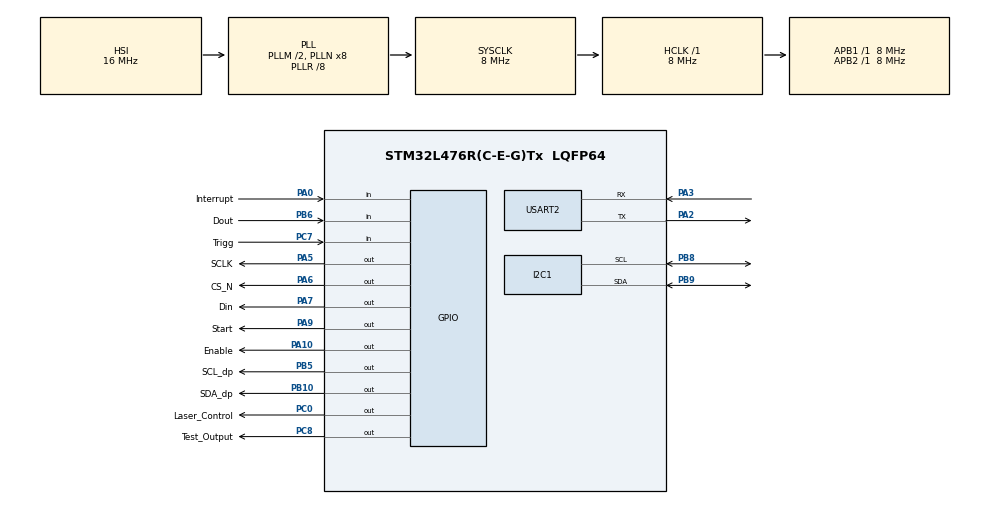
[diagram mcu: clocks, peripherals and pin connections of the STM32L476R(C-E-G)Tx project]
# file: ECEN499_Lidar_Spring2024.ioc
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I2C1.Speed=2
I2C1.Timing=0xA0006AFF
Mcu.Family=STM32L4
Mcu.Name=STM32L476R(C-E-G)Tx
Mcu.Package=LQFP64
NVIC.PriorityGroup=NVIC_PRIORITYGROUP_4
PA0.GPIO_Label=Interrupt
PA0.GPIO_PuPd=GPIO_NOPULL
PA0.Signal=GPIO_Input
PA10.GPIO_Label=Enable
PA10.Signal=GPIO_Output
PA2.Mode=Asynchronous
PA2.Signal=USART2_TX
PA3.Mode=Asynchronous
PA3.Signal=USART2_RX
PA5.GPIO_Label=SCLK
PA5.Signal=GPIO_Output
PA6.GPIO_Label=CS_N
PA6.Signal=GPIO_Output
PA7.GPIO_Label=Din
PA7.Signal=GPIO_Output
PA9.GPIO_Label=Start
PA9.Signal=GPIO_Output
PB10.GPIO_Label=SDA_dp
PB10.Signal=GPIO_Output
PB5.GPIO_Label=SCL_dp
PB5.Signal=GPIO_Output
PB6.GPIO_Label=Dout
PB6.GPIO_PuPd=GPIO_PULLDOWN
PB6.Signal=GPIO_Input
PB8.GPIO_Pu=GPIO_PULLUP
PB8.Mode=I2C
PB8.Signal=I2C1_SCL
PB9.GPIO_Pu=GPIO_PULLUP
PB9.Mode=I2C
PB9.Signal=I2C1_SDA
PC0.GPIO_Label=Laser_Control
PC0.Signal=GPIO_Output
PC7.GPIO_Label=Trigg
PC7.GPIO_PuPd=GPIO_NOPULL
PC7.Signal=GPIO_Input
PC8.GPIO_Label=Test_Output
PC8.Signal=GPIO_Output
ProjectManager.HeapSize=0x200
ProjectManager.StackSize=0x400
ProjectManager.TargetToolchain=STM32CubeIDE
RCC.ADCFreq_Value=32000000
RCC.AHBFreq_Value=8000000
RCC.APB1Freq_Value=8000000
RCC.APB1TimFreq_Value=8000000
RCC.APB2Freq_Value=8000000
RCC.APB2TimFreq_Value=8000000
RCC.CortexFreq_Value=8000000
RCC.HCLKFreq_Value=8000000
RCC.HSE_VALUE=8000000
RCC.HSI_VALUE=16000000
RCC.LSE_VALUE=32768
RCC.MSI_VALUE=4000000
RCC.PLLM=2
RCC.PLLR=RCC_PLLR_DIV8
RCC.PLLSourceVirtual=RCC_PLLSOURCE_HSI
RCC.PREFETCH_ENABLE=1
RCC.SYSCLKFreq_VALUE=8000000
RCC.SYSCLKSource=RCC_SYSCLKSOURCE_PLLCLK
RCC.USBFreq_Value=32000000
RCC.VCOOutputFreq_Value=64000000
USART2.VirtualMode-Asynchronous=VM_ASYNC
board=NUCLEO-L476RG

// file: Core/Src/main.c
/* USER CODE BEGIN Header */
/**
  ******************************************************************************
  * @file           : main.c
  * @brief          : Main program body
  ******************************************************************************
  * @attention
  *
  * Copyright (c) 2024 STMicroelectronics.
  * All rights reserved.
  *
  * This software is licensed under terms that can be found in the LICENSE file
  * in the root directory of this software component.
  * If no LICENSE file comes with this software, it is provided AS-IS.
  *
  ******************************************************************************
  */
/* USER CODE END Header */
#include "main.h"

/* USER CODE BEGIN Includes */
#include "spi.h"
#include "stdlib.h"
#include "stdio.h"
#include "string.h"
#include <math.h>
/* USER CODE END Includes */

/* USER CODE BEGIN PM */
#define UART_DELAY 100 // wait max of 100 ms between frames in message
#define MAX_MESSAGE_SIZE 100 // 100 characters maximum message size
#define MAX_NEW_POT_VALUE_SIZE 3 // 3 characters maximum potentiometer value size
/* USER CODE END PM */

I2C_HandleTypeDef hi2c1;

UART_HandleTypeDef huart2;

/* USER CODE BEGIN PV */
int  new_pot_value;
char message[MAX_MESSAGE_SIZE];
char distance[MAX_MESSAGE_SIZE];
/* USER CODE END PV */

void SystemClock_Config(void);
static void MX_GPIO_Init(void);
static void MX_I2C1_Init(void);
static void MX_USART2_UART_Init(void);

/* USER CODE BEGIN 0 */

void Set_Pot_Value(uint8_t pot_value)
{
	/* This function will take in a 8 bit value that will determine the value of the potentiometer.
	 * The DigiPot needs three things to update 1. Slave Address, 2. Register Address, and 3. Pot Value
	 * The Slave address (8bit) is comprised of the address (7bits) and a read/write bit (1bit lsb)
	 * The register address for the pot is 0b 0000 0000
	 * Potentiometer Values can range from 0x00 to 0xFF
	 */

	uint8_t tx_data[2];  // Buffer to hold the data to be transmitted
	uint8_t SLAVE_ADDRESS = (0x2E << 1) ; //This will need to be changed.
	// Populate the data buffer
	tx_data[0] = 0b00000000;  // Register address to write to
	tx_data[1] = pot_value;   // 8-bit word to write //SEE Resistance Value table in Data sheet.

	// Perform I2C transmission
	HAL_I2C_Master_Transmit(&hi2c1, (uint8_t)SLAVE_ADDRESS, tx_data, 2, HAL_MAX_DELAY);
}

void Intialize_TDC(void)
{
	  char thing[30] = "Yeetus";
	  HAL_UART_Transmit(&huart2, (unsigned char*) thing, strlen(thing), UART_DELAY);

	//chip select set
	HAL_GPIO_WritePin(GPIOA, CS_N_Pin, GPIO_PIN_SET);
	// Set Enable Pin
 	HAL_GPIO_WritePin(GPIOA, Enable_Pin, GPIO_PIN_SET);

	// wait at least 1.5 ms (12,000 clock cycles) for LDO_SET2 (see datasheet 8.4.7)
	wait_cycles(24000);

	// Set tdc to mode 2
	// set force calibration to 1
	uint32_t config1 = TDC7200_Read_Register(TDC_CONFIG1) | 0x12;
	TDC7200_Write_Register(TDC_CONFIG1, config1);
	config1 = TDC7200_Read_Register(TDC_CONFIG1);

	// set calibration2_periods to b'11
	uint32_t config2 = TDC7200_Read_Register(TDC_CONFIG2) | 0xC0;
	TDC7200_Write_Register(TDC_CONFIG2, config2);

}

void chopper_pulse(){

}

double take_measurement(){
	// Set START_MEAS bit to 1
	uint32_t config_value = TDC7200_Read_Register(TDC_CONFIG1);
	config_value |= 0x01;
	TDC7200_Write_Register(TDC_CONFIG1, config_value);

	//wait_cycles(400);
	HAL_Delay(100);

    //set start_pin high and laser control pin high
	HAL_GPIO_WritePin(GPIOC, Laser_Control_Pin, GPIO_PIN_SET); // Laser High
	HAL_GPIO_WritePin(GPIOA, Start_Pin, GPIO_PIN_SET); // Start High

	// wait for TDC to time out
	HAL_Delay(10);

	// read result
    HAL_GPIO_WritePin(GPIOA, Start_Pin, GPIO_PIN_RESET); // Start low
    HAL_GPIO_WritePin(GPIOC, Laser_Control_Pin, GPIO_PIN_RESET); // Laser low

    // Calculate Time of Flight
    double time1 = TDC7200_Read_Register(TDC_TIME1);
    double time2 = TDC7200_Read_Register(TDC_TIME2);
    double cal1 = TDC7200_Read_Register(TDC_CALIBRATION1);
    double cal2 = TDC7200_Read_Register(TDC_CALIBRATION2);
    double clock_count1 = TDC7200_Read_Register(TDC_CLOCK_COUNT1);
    const double cal2_periods = 40;
    const double clk_period = 0.000000125;
    double cal_count = (cal2-cal1)/(cal2_periods - 1);
    double norm_lsb = clk_period / cal_count;
    double tof = ((time1 - time2) * norm_lsb) + (clock_count1 * clk_period);
    return tof;

}

double calculate_offset(double measured_time){
	// Calculate offset for time for laser to turn on and any other delays in the circuit
	return measured_time - (double) 0.00038588607;
}

// the compare function for double values
static int compare (const void * a, const void * b)
{
  if (*(double*)a > *(double*)b) return 1;
  else if (*(double*)a < *(double*)b) return -1;
  else return 0;
}

/* USER CODE END 0 */

int main(void)
{

  /* MCU Configuration--------------------------------------------------------*/

  /* Reset of all peripherals, Initializes the Flash interface and the Systick. */
   HAL_Init();

  /* Configure the system clock */
  SystemClock_Config();

  /* Initialize all configured peripherals */
  MX_GPIO_Init();
  MX_I2C1_Init();
  MX_USART2_UART_Init();
  /* USER CODE BEGIN 2 */

  Intialize_TDC();

  HAL_Delay(6);

  Set_Pot_Value(110);

  double values[41];

  /* USER CODE END 2 */

  /* Infinite loop */
  /* USER CODE BEGIN WHILE */
  while (1)
  {

	  for (int i = 1; i < 41 ; i++){

	  	  double tof = take_measurement();
		  if (tof > 1){
			  i--;
		  }
		  else{
		  values[i] = tof;
		  }
	  }

	  //sort array in c
	  qsort(&values[1], 40, sizeof(double), compare);
	  double average;
	  for(int j = 6; j < 36; j++){
		  average += values[j];
	  }
	  average = average / 30;

	  average = calculate_offset(average);

	  double distance_meas = average*299792458;
	  char distance_meas_str[MAX_MESSAGE_SIZE];
	  snprintf(distance_meas_str, MAX_MESSAGE_SIZE, "%f%s", distance_meas,"\r\n");
	  HAL_UART_Transmit(&huart2, (unsigned char*) distance_meas_str, strlen(distance_meas_str), UART_DELAY);

	  average = 0;

  }

    /* USER CODE END WHILE */

}

void SystemClock_Config(void)
{
  RCC_OscInitTypeDef RCC_OscInitStruct = {0};
  RCC_ClkInitTypeDef RCC_ClkInitStruct = {0};

  /** Configure the main internal regulator output voltage
  */
  if (HAL_PWREx_ControlVoltageScaling(PWR_REGULATOR_VOLTAGE_SCALE1) != HAL_OK)
  {
    Error_Handler();
  }

  /** Initializes the RCC Oscillators according to the specified parameters
  * in the RCC_OscInitTypeDef structure.
  */
  RCC_OscInitStruct.OscillatorType = RCC_OSCILLATORTYPE_HSI;
  RCC_OscInitStruct.HSIState = RCC_HSI_ON;
  RCC_OscInitStruct.HSICalibrationValue = RCC_HSICALIBRATION_DEFAULT;
  RCC_OscInitStruct.PLL.PLLState = RCC_PLL_ON;
  RCC_OscInitStruct.PLL.PLLSource = RCC_PLLSOURCE_HSI;
  RCC_OscInitStruct.PLL.PLLM = 2;
  RCC_OscInitStruct.PLL.PLLN = 8;
  RCC_OscInitStruct.PLL.PLLP = RCC_PLLP_DIV7;
  RCC_OscInitStruct.PLL.PLLQ = RCC_PLLQ_DIV2;
  RCC_OscInitStruct.PLL.PLLR = RCC_PLLR_DIV8;
  if (HAL_RCC_OscConfig(&RCC_OscInitStruct) != HAL_OK)
  {
    Error_Handler();
  }

  /** Initializes the CPU, AHB and APB buses clocks
  */
  RCC_ClkInitStruct.ClockType = RCC_CLOCKTYPE_HCLK|RCC_CLOCKTYPE_SYSCLK
                              |RCC_CLOCKTYPE_PCLK1|RCC_CLOCKTYPE_PCLK2;
  RCC_ClkInitStruct.SYSCLKSource = RCC_SYSCLKSOURCE_PLLCLK;
  RCC_ClkInitStruct.AHBCLKDivider = RCC_SYSCLK_DIV1;
  RCC_ClkInitStruct.APB1CLKDivider = RCC_HCLK_DIV1;
  RCC_ClkInitStruct.APB2CLKDivider = RCC_HCLK_DIV1;

  if (HAL_RCC_ClockConfig(&RCC_ClkInitStruct, FLASH_LATENCY_0) != HAL_OK)
  {
    Error_Handler();
  }
}

static void MX_I2C1_Init(void)
{

  hi2c1.Instance = I2C1;
  hi2c1.Init.Timing = 0xA0006AFF;
  hi2c1.Init.OwnAddress1 = 0;
  hi2c1.Init.AddressingMode = I2C_ADDRESSINGMODE_7BIT;
  hi2c1.Init.DualAddressMode = I2C_DUALADDRESS_DISABLE;
  hi2c1.Init.OwnAddress2 = 0;
  hi2c1.Init.OwnAddress2Masks = I2C_OA2_NOMASK;
  hi2c1.Init.GeneralCallMode = I2C_GENERALCALL_DISABLE;
  hi2c1.Init.NoStretchMode = I2C_NOSTRETCH_DISABLE;
  if (HAL_I2C_Init(&hi2c1) != HAL_OK)
  {
    Error_Handler();
  }

  /** Configure Analogue filter
  */
  if (HAL_I2CEx_ConfigAnalogFilter(&hi2c1, I2C_ANALOGFILTER_ENABLE) != HAL_OK)
  {
    Error_Handler();
  }

  /** Configure Digital filter
  */
  if (HAL_I2CEx_ConfigDigitalFilter(&hi2c1, 0) != HAL_OK)
  {
    Error_Handler();
  }

}

static void MX_USART2_UART_Init(void)
{

  huart2.Instance = USART2;
  huart2.Init.BaudRate = 115200;
  huart2.Init.WordLength = UART_WORDLENGTH_8B;
  huart2.Init.StopBits = UART_STOPBITS_1;
  huart2.Init.Parity = UART_PARITY_NONE;
  huart2.Init.Mode = UART_MODE_TX_RX;
  huart2.Init.HwFlowCtl = UART_HWCONTROL_NONE;
  huart2.Init.OverSampling = UART_OVERSAMPLING_16;
  huart2.Init.OneBitSampling = UART_ONE_BIT_SAMPLE_DISABLE;
  huart2.AdvancedInit.AdvFeatureInit = UART_ADVFEATURE_NO_INIT;
  if (HAL_UART_Init(&huart2) != HAL_OK)
  {
    Error_Handler();
  }

}

static void MX_GPIO_Init(void)
{
  GPIO_InitTypeDef GPIO_InitStruct = {0};

  /* GPIO Ports Clock Enable */
  __HAL_RCC_GPIOC_CLK_ENABLE();
  __HAL_RCC_GPIOA_CLK_ENABLE();
  __HAL_RCC_GPIOB_CLK_ENABLE();

  /*Configure GPIO pin Output Level */
  HAL_GPIO_WritePin(GPIOC, Laser_Control_Pin|Test_Output_Pin, GPIO_PIN_RESET);

  /*Configure GPIO pin Output Level */
  HAL_GPIO_WritePin(GPIOA, SCLK_Pin|CS_N_Pin|Din_Pin|Start_Pin
                          |Enable_Pin, GPIO_PIN_RESET);

  /*Configure GPIO pin Output Level */
  HAL_GPIO_WritePin(GPIOB, SDA_dp_Pin|SCL_dp_Pin, GPIO_PIN_RESET);

  /*Configure GPIO pins : Laser_Control_Pin Test_Output_Pin */
  GPIO_InitStruct.Pin = Laser_Control_Pin|Test_Output_Pin;
  GPIO_InitStruct.Mode = GPIO_MODE_OUTPUT_PP;
  GPIO_InitStruct.Pull = GPIO_NOPULL;
  GPIO_InitStruct.Speed = GPIO_SPEED_FREQ_LOW;
  HAL_GPIO_Init(GPIOC, &GPIO_InitStruct);

  /*Configure GPIO pin : Interrupt_Pin */
  GPIO_InitStruct.Pin = Interrupt_Pin;
  GPIO_InitStruct.Mode = GPIO_MODE_INPUT;
  GPIO_InitStruct.Pull = GPIO_NOPULL;
  HAL_GPIO_Init(Interrupt_GPIO_Port, &GPIO_InitStruct);

  /*Configure GPIO pins : SCLK_Pin CS_N_Pin Din_Pin Start_Pin
                           Enable_Pin */
  GPIO_InitStruct.Pin = SCLK_Pin|CS_N_Pin|Din_Pin|Start_Pin
                          |Enable_Pin;
  GPIO_InitStruct.Mode = GPIO_MODE_OUTPUT_PP;
  GPIO_InitStruct.Pull = GPIO_NOPULL;
  GPIO_InitStruct.Speed = GPIO_SPEED_FREQ_LOW;
  HAL_GPIO_Init(GPIOA, &GPIO_InitStruct);

  /*Configure GPIO pins : SDA_dp_Pin SCL_dp_Pin */
  GPIO_InitStruct.Pin = SDA_dp_Pin|SCL_dp_Pin;
  GPIO_InitStruct.Mode = GPIO_MODE_OUTPUT_PP;
  GPIO_InitStruct.Pull = GPIO_NOPULL;
  GPIO_InitStruct.Speed = GPIO_SPEED_FREQ_LOW;
  HAL_GPIO_Init(GPIOB, &GPIO_InitStruct);

  /*Configure GPIO pin : Trigg_Pin */
  GPIO_InitStruct.Pin = Trigg_Pin;
  GPIO_InitStruct.Mode = GPIO_MODE_INPUT;
  GPIO_InitStruct.Pull = GPIO_NOPULL;
  HAL_GPIO_Init(Trigg_GPIO_Port, &GPIO_InitStruct);

  /*Configure GPIO pin : Dout_Pin */
  GPIO_InitStruct.Pin = Dout_Pin;
  GPIO_InitStruct.Mode = GPIO_MODE_INPUT;
  GPIO_InitStruct.Pull = GPIO_PULLDOWN;
  HAL_GPIO_Init(Dout_GPIO_Port, &GPIO_InitStruct);

}

void Error_Handler(void)
{
  __disable_irq();
  while (1)
  {
  }
}
